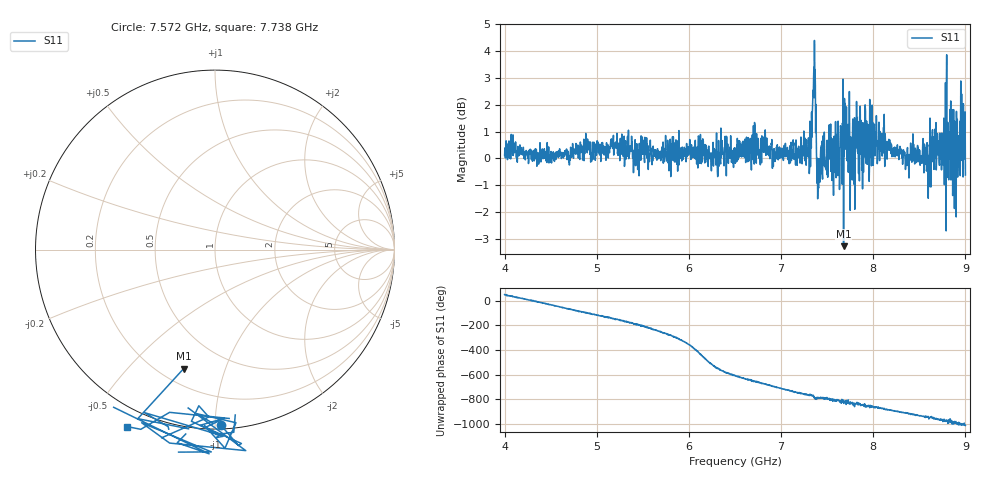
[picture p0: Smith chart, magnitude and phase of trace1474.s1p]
! Created with skrf 1.8.0 (http://scikit-rf.org).
# Hz S RI R 50.0
!freq ReS11 ImS11
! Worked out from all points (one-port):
!   1601 points, 4 GHz to 9 GHz, reference 50 ohm
!   lowest |S11| = -3.3 dB at 7.678 GHz (marker M1), VSWR 5.36, Z = 14.6 - j36.4 ohm
!   |S11| at or under -10 dB: nowhere
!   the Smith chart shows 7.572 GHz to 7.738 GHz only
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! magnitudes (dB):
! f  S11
! 4 GHz  0.1
! 4.625 GHz  0.1
! 5.25 GHz  -0.1
! 5.875 GHz  0.5
! 6.5 GHz  0.2
! 6.806 GHz  0.2
! 7.125 GHz  0.2
! 7.303 GHz  0.6
! 7.356 GHz  3.4
! 7.409 GHz  -1.1
! 7.538 GHz  1.3
! 7.612 GHz  0.2
! 7.678 GHz  -3.3
! 7.75 GHz  -1.9
! 7.775 GHz  0.8
! 7.834 GHz  0.2
! 7.875 GHz  -0.4
! 7.928 GHz  1.4
! 8.375 GHz  0.0
! 8.438 GHz  0.5
! 8.603 GHz  -1.1
! 8.656 GHz  0.5
! 8.738 GHz  0.5
! 8.819 GHz  -0.8
! 8.825 GHz  0.0
! 8.875 GHz  0.2
! 8.972 GHz  0.3
! 9 GHz  -0.6
